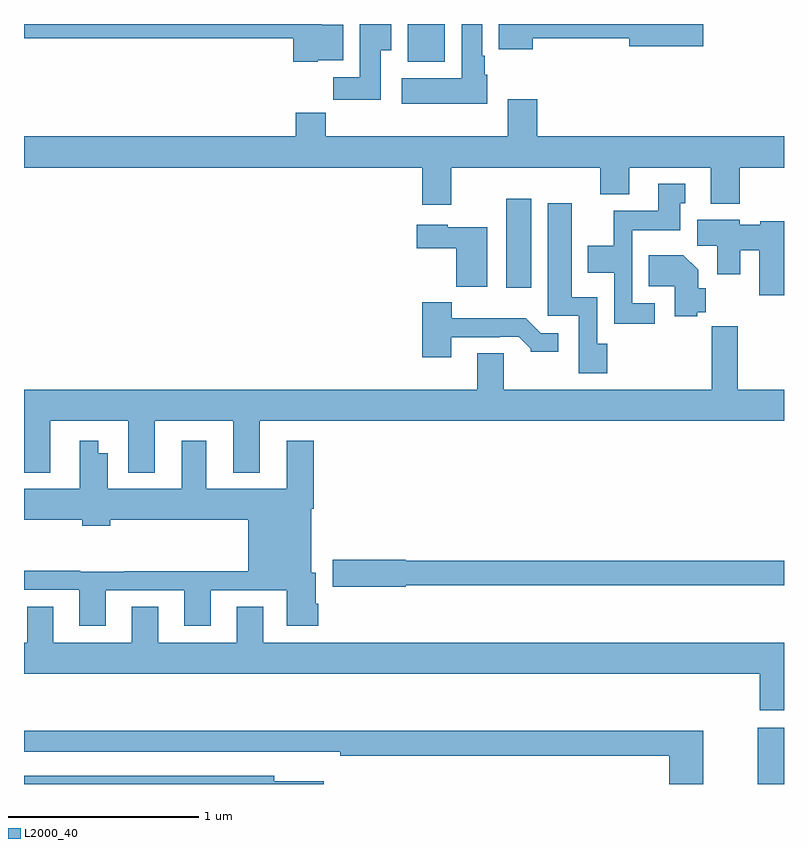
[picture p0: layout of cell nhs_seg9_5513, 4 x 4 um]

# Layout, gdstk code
import gdstk
lib = gdstk.Library(unit=1e-6, precision=1e-09)
def R(c, l, rs):  # rectangles x0, y0, x1, y1
    for r in rs: c.add(gdstk.rectangle(r[:2], r[2:], *l))
def P(c, l, *ps):  # polygons
    for p in ps: c.add(gdstk.Polygon(p, *l))
L2000_40 = (2000, 40)

nhs_seg9_5513 = lib.new_cell('nhs_seg9_5513')
R(nhs_seg9_5513, L2000_40, [(434.863,1202.5,435,1202.796), (433.538,1205.112,433.669,1205.581), (433.019,1206.302,433.215,1206.5)])
P(nhs_seg9_5513, L2000_40, [(433.438,1206.234),(433.426,1206.234),(433.426,1206.334),(433.411,1206.334),(433.411,1206.5),(433.304,1206.5),(433.304,1206.214),(432.987,1206.214),(432.987,1206.08),(433.438,1206.08)],
  [(433.678,1206.424),(434.186,1206.424),(434.186,1206.382),(434.575,1206.382),(434.575,1206.5),(433.499,1206.5),(433.499,1206.368),(433.678,1206.368)],
  [(432.877,1206.361),(432.934,1206.361),(432.934,1206.5),(432.767,1206.5),(432.767,1206.22),(432.628,1206.22),(432.628,1206.102),(432.877,1206.102)],
  [(432.546,1206.308),(432.679,1206.308),(432.679,1206.496),(432.568,1206.496),(432.568,1206.5),(431,1206.5),(431,1206.424),(432.416,1206.424),(432.416,1206.302),(432.546,1206.302)],
  [(433.249,1205.744),(434.033,1205.744),(434.033,1205.603),(434.185,1205.603),(434.185,1205.744),(434.615,1205.744),(434.615,1205.555),(434.768,1205.555),(434.768,1205.744),(435,1205.744),(435,1205.908),(433.7,1205.908),(433.7,1206.103),(433.547,1206.103),(433.547,1205.908),(432.587,1205.908),(432.587,1206.032),(432.431,1206.032),(432.431,1205.908),(431,1205.908),(431,1205.744),(433.097,1205.744),(433.097,1205.55),(433.249,1205.55)],
  [(434.32,1205.031),(434.202,1205.031),(434.202,1205.414),(434.455,1205.414),(434.455,1205.556),(434.479,1205.556),(434.479,1205.659),(434.339,1205.659),(434.339,1205.518),(434.104,1205.518),(434.104,1205.332),(433.967,1205.332),(433.967,1205.192),(434.106,1205.192),(434.106,1204.923),(434.32,1204.923)],
  [(434.069,1204.818),(434.016,1204.818),(434.016,1205.062),(433.882,1205.062),(433.882,1205.557),(433.757,1205.557),(433.757,1204.965),(433.92,1204.965),(433.92,1204.662),(434.069,1204.662)],
  [(435,1205.461),(434.874,1205.461),(434.874,1205.443),(434.766,1205.443),(434.766,1205.47),(434.543,1205.47),(434.543,1205.332),(434.648,1205.332),(434.648,1205.184),(434.77,1205.184),(434.77,1205.309),(434.87,1205.309),(434.87,1205.073),(435,1205.073)],
  [(433.438,1205.431),(433.23,1205.431),(433.23,1205.443),(433.068,1205.443),(433.068,1205.321),(433.276,1205.321),(433.276,1205.117),(433.438,1205.117)],
  [(434.544,1204.982),(434.587,1204.982),(434.587,1205.11),(434.548,1205.11),(434.548,1205.206),(434.47,1205.284),(434.287,1205.284),(434.287,1205.12),(434.426,1205.12),(434.426,1204.963),(434.544,1204.963)],
  [(433.249,1204.851),(433.505,1204.851),(433.505,1204.854),(433.604,1204.854),(433.668,1204.79),(433.668,1204.775),(433.813,1204.775),(433.813,1204.872),(433.719,1204.872),(433.641,1204.951),(433.252,1204.951),(433.252,1205.035),(433.097,1205.035),(433.097,1204.746),(433.249,1204.746)],
  [(431.137,1204.412),(431.549,1204.412),(431.549,1204.139),(431.689,1204.139),(431.689,1204.412),(432.101,1204.412),(432.101,1204.139),(432.241,1204.139),(432.241,1204.412),(435,1204.412),(435,1204.576),(434.756,1204.576),(434.756,1204.909),(434.621,1204.909),(434.621,1204.796),(434.62,1204.796),(434.62,1204.576),(433.525,1204.576),(433.525,1204.766),(433.385,1204.766),(433.385,1204.576),(431,1204.576),(431,1204.139),(431.137,1204.139)],
  [(431.431,1203.519),(431.843,1203.519),(431.843,1203.333),(431.983,1203.333),(431.983,1203.519),(432.383,1203.519),(432.383,1203.333),(432.548,1203.333),(432.548,1203.449),(432.535,1203.449),(432.535,1203.612),(432.511,1203.612),(432.511,1203.95),(432.524,1203.95),(432.524,1204.306),(432.383,1204.306),(432.383,1204.054),(431.959,1204.054),(431.959,1204.306),(431.831,1204.306),(431.831,1204.054),(431.44,1204.054),(431.44,1204.24),(431.392,1204.24),(431.392,1204.306),(431.294,1204.306),(431.294,1204.054),(431,1204.054),(431,1203.89),(431.306,1203.89),(431.306,1203.86),(431.453,1203.86),(431.453,1203.89),(432.179,1203.89),(432.179,1203.62),(431.527,1203.62),(431.527,1203.618),(431.295,1203.618),(431.295,1203.623),(431,1203.623),(431,1203.522),(431.291,1203.522),(431.291,1203.333),(431.431,1203.333)],
  [(433.008,1203.546),(435,1203.546),(435,1203.674),(433.008,1203.674),(433.008,1203.68),(432.624,1203.68),(432.624,1203.538),(433.008,1203.538)],
  [(435,1203.244),(432.259,1203.244),(432.259,1203.434),(432.119,1203.434),(432.119,1203.244),(431.707,1203.244),(431.707,1203.434),(431.567,1203.434),(431.567,1203.244),(431.155,1203.244),(431.155,1203.434),(431.016,1203.434),(431.016,1203.244),(431,1203.244),(431,1203.08),(434.873,1203.08),(434.873,1202.889),(435,1202.889)],
  [(434.574,1202.779),(431,1202.779),(431,1202.67),(432.412,1202.67),(432.412,1202.669),(432.664,1202.669),(432.664,1202.65),(434.396,1202.65),(434.396,1202.5),(434.574,1202.5)],
  [(432.577,1202.515),(432.316,1202.515),(432.316,1202.544),(431,1202.544),(431,1202.5),(432.577,1202.5)])

lib.write_gds('nhs_seg9_5513.gds')
